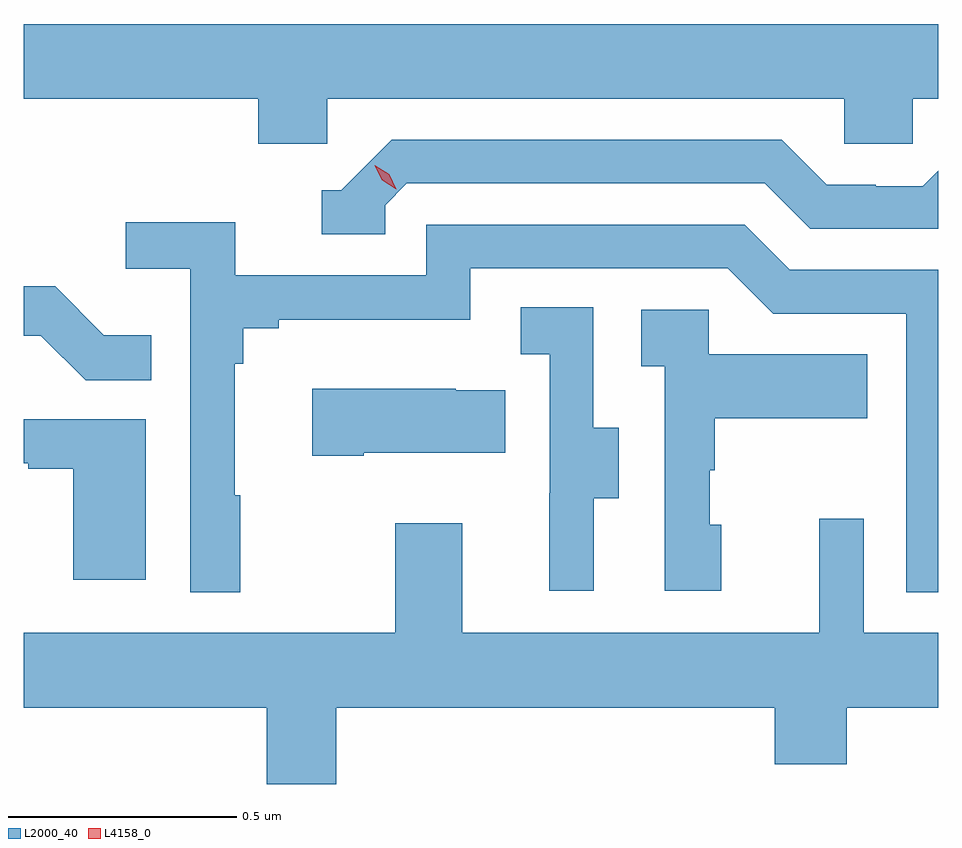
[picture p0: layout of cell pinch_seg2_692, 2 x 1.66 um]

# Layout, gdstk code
import gdstk
lib = gdstk.Library(unit=1e-6, precision=1e-09)
def P(c, l, *ps):  # polygons
    for p in ps: c.add(gdstk.Polygon(p, *l))
L2000_40 = (2000, 40)
L4158_0 = (4158, 0)

pinch_seg2_692 = lib.new_cell('pinch_seg2_692')
P(pinch_seg2_692, L2000_40, [(1078.764,594.356),(1079.895,594.356),(1079.895,594.258),(1080.045,594.258),(1080.045,594.356),(1080.1,594.356),(1080.1,594.52),(1078.1,594.52),(1078.1,594.356),(1078.613,594.356),(1078.613,594.258),(1078.764,594.258)],
  [(1078.89,594.123),(1078.938,594.171),(1079.721,594.171),(1079.82,594.072),(1080.1,594.072),(1080.1,594.199),(1080.067,594.165),(1079.964,594.165),(1079.964,594.168),(1079.857,594.168),(1079.758,594.267),(1078.905,594.267),(1078.794,594.156),(1078.751,594.156),(1078.751,594.06),(1078.89,594.06)],
  [(1078.573,593.489),(1078.561,593.489),(1078.561,593.777),(1078.58,593.777),(1078.58,593.854),(1078.657,593.854),(1078.657,593.873),(1079.076,593.873),(1079.076,593.985),(1079.64,593.985),(1079.739,593.886),(1080.03,593.886),(1080.03,593.277),(1080.1,593.277),(1080.1,593.982),(1079.776,593.982),(1079.677,594.081),(1078.98,594.081),(1078.98,593.97),(1078.562,593.97),(1078.562,594.086),(1078.323,594.086),(1078.323,593.984),(1078.464,593.984),(1078.464,593.277),(1078.573,593.277)],
  [(1078.379,593.839),(1078.275,593.839),(1078.168,593.946),(1078.1,593.946),(1078.1,593.838),(1078.137,593.838),(1078.235,593.74),(1078.379,593.74)],
  [(1079.347,593.482),(1079.401,593.482),(1079.401,593.637),(1079.346,593.637),(1079.346,593.9),(1079.187,593.9),(1079.187,593.797),(1079.25,593.797),(1079.25,593.493),(1079.249,593.493),(1079.249,593.28),(1079.347,593.28)],
  [(1079.626,593.424),(1079.601,593.424),(1079.601,593.543),(1079.611,593.543),(1079.611,593.657),(1079.945,593.657),(1079.945,593.797),(1079.598,593.797),(1079.598,593.895),(1079.451,593.895),(1079.451,593.771),(1079.502,593.771),(1079.502,593.28),(1079.626,593.28)],
  [(1078.843,593.582),(1079.153,593.582),(1079.153,593.719),(1079.045,593.719),(1079.045,593.722),(1078.731,593.722),(1078.731,593.575),(1078.843,593.575)],
  [(1078.366,593.655),(1078.1,593.655),(1078.1,593.559),(1078.109,593.559),(1078.109,593.547),(1078.208,593.547),(1078.208,593.304),(1078.366,593.304)],
  [(1078.783,593.024),(1079.743,593.024),(1079.743,592.9),(1079.9,592.9),(1079.9,593.024),(1080.1,593.024),(1080.1,593.188),(1079.937,593.188),(1079.937,593.437),(1079.84,593.437),(1079.84,593.188),(1079.059,593.188),(1079.059,593.428),(1078.912,593.428),(1078.912,593.188),(1078.1,593.188),(1078.1,593.024),(1078.631,593.024),(1078.631,592.857),(1078.783,592.857)])
P(pinch_seg2_692, L4158_0, [(1078.915,594.158),(1078.884,594.178),(1078.868,594.21),(1078.868,594.211),(1078.868,594.211),(1078.899,594.191),(1078.915,594.158),(1078.915,594.158)])

lib.write_gds('pinch_seg2_692.gds')
